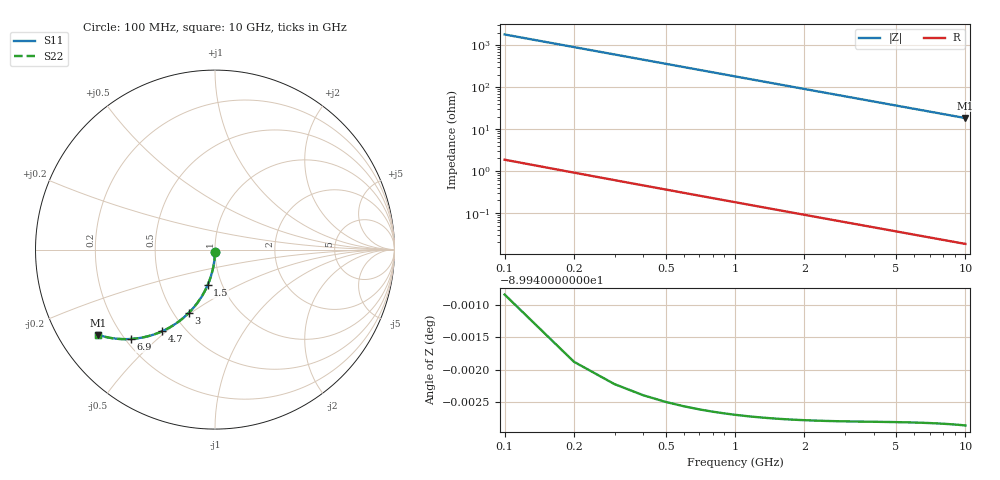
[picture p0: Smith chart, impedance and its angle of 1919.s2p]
# Hz S RI R 50.00
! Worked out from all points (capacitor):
!   100 points, 100 MHz to 10 GHz, reference 50 ohm
!   read as one part in shunt: C = 880 fF near 100 MHz
!   lowest |Z| = 18.4 ohm at 10 GHz (marker M1)
!   S11 on the Smith chart (normalised r, x): 100 MHz: 1.00, -0.03; 1.5 GHz: 0.85, -0.35; 3 GHz: 0.60, -0.49; 4.7 GHz: 0.38, -0.48; 6.9 GHz: 0.22, -0.41; 10 GHz: 0.12, -0.32
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1e8  -0.000204 -0.0138  0.9998 -0.0138  0.9998 -0.0138  -0.000204 -0.0138
2e8  -0.00079 -0.0276  0.9992 -0.0276  0.9992 -0.0276  -0.00079 -0.0276
3e8  -0.00176 -0.0414  0.9982 -0.0414  0.9982 -0.0414  -0.00176 -0.0414
4e8  -0.0031 -0.0551  0.9969 -0.0551  0.9969 -0.0551  -0.0031 -0.0551
5e8  -0.00482 -0.0687  0.9952 -0.0688  0.9952 -0.0688  -0.00482 -0.0687
6e8  -0.0069 -0.0822  0.9931 -0.0823  0.9931 -0.0823  -0.0069 -0.0822
7e8  -0.00935 -0.0957  0.9906 -0.0958  0.9906 -0.0958  -0.00935 -0.0957
9e8  -0.0153 -0.1222  0.9847 -0.1224  0.9847 -0.1224  -0.0153 -0.1222
1.2e9  -0.0268 -0.1609  0.9732 -0.1611  0.9732 -0.1611  -0.0268 -0.1609
1.5e9  -0.0412 -0.198  0.9588 -0.1983  0.9588 -0.1983  -0.0412 -0.198
1.8e9  -0.0581 -0.2333  0.9419 -0.2336  0.9419 -0.2336  -0.0581 -0.2333
2.4e9  -0.0984 -0.2972  0.9016 -0.2976  0.9016 -0.2976  -0.0984 -0.2972
3e9  -0.1453 -0.3517  0.8547 -0.3522  0.8547 -0.3522  -0.1453 -0.3517
3.4e9  -0.179 -0.3825  0.821 -0.3831  0.821 -0.3831  -0.179 -0.3825
4e9  -0.2313 -0.4208  0.7687 -0.4215  0.7687 -0.4215  -0.2313 -0.4208
4.7e9  -0.293 -0.4542  0.707 -0.455  0.707 -0.455  -0.293 -0.4542
5.1e9  -0.3276 -0.4684  0.6724 -0.4693  0.6724 -0.4693  -0.3276 -0.4684
5.9e9  -0.3942 -0.4877  0.6058 -0.4887  0.6058 -0.4887  -0.3942 -0.4877
6.7e9  -0.4558 -0.497  0.5442 -0.4981  0.5442 -0.4981  -0.4558 -0.497
6.9e9  -0.4703 -0.498  0.5297 -0.4992  0.5297 -0.4992  -0.4703 -0.498
8.4e9  -0.5676 -0.4942  0.4324 -0.4956  0.4324 -0.4956  -0.5676 -0.4942
1e10  -0.6499 -0.4756  0.3501 -0.4773  0.3501 -0.4773  -0.6499 -0.4756
